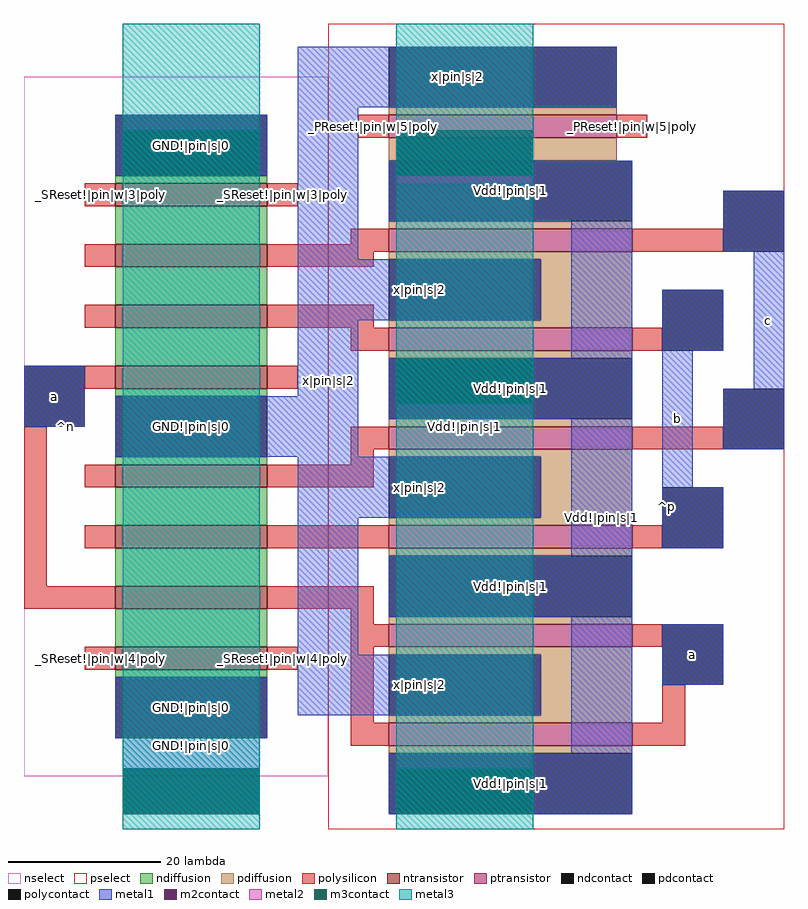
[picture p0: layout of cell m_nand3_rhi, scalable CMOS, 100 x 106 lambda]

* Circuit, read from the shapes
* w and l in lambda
.subckt m_nand3_rhi GND!|pin|s|0 Vdd!|pin|s|1 _PReset!|pin|w|5|poly _SReset!|pin|w|3|poly _SReset!|pin|w|4|poly a b c x|pin|s|2
M1 n1 _SReset!|pin|w|4|poly GND!|pin|s|0 VSUBS nfet w=20 l=3
M2 n2 a n1 VSUBS nfet w=20 l=3
M3 n3 b n2 VSUBS nfet w=20 l=3
M4 x|pin|s|2 c n3 VSUBS nfet w=20 l=3
M5 n4 a x|pin|s|2 VSUBS nfet w=20 l=3
M6 n5 b n4 VSUBS nfet w=20 l=3
M7 n6 c n5 VSUBS nfet w=20 l=3
M8 GND!|pin|s|0 _SReset!|pin|w|3|poly n6 VSUBS nfet w=20 l=3
M9 x|pin|s|2 a Vdd!|pin|s|1 NWELL pfet w=32 l=3 m=2
M10 x|pin|s|2 b Vdd!|pin|s|1 NWELL pfet w=32 l=3 m=2
M11 Vdd!|pin|s|1 c x|pin|s|2 NWELL pfet w=32 l=3 m=2
M12 x|pin|s|2 _PReset!|pin|w|5|poly Vdd!|pin|s|1 NWELL pfet w=30 l=3
.ends

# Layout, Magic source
magic
tech scmos
<< nselect >>
rect -40 -1 0 91
<< pselect >>
rect 0 -8 60 98
<< ndiffusion >>
rect -28 77 -8 78
rect -28 69 -8 74
rect -28 61 -8 66
rect -28 53 -8 58
rect -28 49 -8 50
rect -28 40 -8 41
rect -28 32 -8 37
rect -28 24 -8 29
rect -28 16 -8 21
rect -28 12 -8 13
<< pdiffusion >>
rect 8 86 38 87
rect 8 80 38 83
rect 8 71 40 72
rect 8 67 40 68
rect 28 59 40 67
rect 8 58 40 59
rect 8 54 40 55
rect 8 45 40 46
rect 8 41 40 42
rect 28 33 40 41
rect 8 32 40 33
rect 8 28 40 29
rect 8 19 40 20
rect 8 15 40 16
rect 28 7 40 15
rect 8 6 40 7
rect 8 2 40 3
<< ntransistor >>
rect -28 74 -8 77
rect -28 66 -8 69
rect -28 58 -8 61
rect -28 50 -8 53
rect -28 37 -8 40
rect -28 29 -8 32
rect -28 21 -8 24
rect -28 13 -8 16
<< ptransistor >>
rect 8 83 38 86
rect 8 68 40 71
rect 8 55 40 58
rect 8 42 40 45
rect 8 29 40 32
rect 8 16 40 19
rect 8 3 40 6
<< polysilicon >>
rect 4 83 8 86
rect 38 83 42 86
rect -32 74 -28 77
rect -8 74 -4 77
rect 3 69 8 71
rect -32 66 -28 69
rect -8 68 8 69
rect 40 68 52 71
rect -8 66 6 68
rect -32 58 -28 61
rect -8 58 6 61
rect 3 55 8 58
rect 40 55 44 58
rect -32 50 -28 53
rect -8 50 -4 53
rect -40 24 -37 45
rect 3 42 8 45
rect 40 42 52 45
rect 3 40 6 42
rect -32 37 -28 40
rect -8 37 6 40
rect -32 29 -28 32
rect -8 29 8 32
rect 40 29 44 32
rect -40 21 -28 24
rect -8 21 6 24
rect 3 19 6 21
rect 3 16 8 19
rect 40 16 44 19
rect -32 13 -28 16
rect -8 13 -4 16
rect 3 6 6 16
rect 44 6 47 11
rect 3 3 8 6
rect 40 3 47 6
<< ndcontact >>
rect -28 78 -8 86
rect -28 41 -8 49
rect -28 4 -8 12
<< pdcontact >>
rect 8 87 38 95
rect 8 72 40 80
rect 8 59 28 67
rect 8 46 40 54
rect 8 33 28 41
rect 8 20 40 28
rect 8 7 28 15
rect 8 -6 40 2
<< polycontact >>
rect 52 68 60 76
rect 44 55 52 63
rect -40 45 -32 53
rect 52 42 60 50
rect 44 29 52 37
rect 44 11 52 19
<< metal1 >>
rect -4 87 38 95
rect -28 84 -8 86
rect -28 78 -27 84
rect -9 78 -8 84
rect -4 67 4 87
rect 8 77 9 80
rect 27 77 40 80
rect 8 72 40 77
rect -4 59 28 67
rect -40 45 -32 53
rect -4 49 4 59
rect 32 54 40 72
rect 52 68 60 76
rect -28 41 4 49
rect 8 48 9 54
rect 27 48 40 54
rect 8 46 40 48
rect -4 33 28 41
rect -4 15 4 33
rect 32 28 40 46
rect 44 55 52 63
rect 44 37 48 55
rect 56 50 60 68
rect 52 42 60 50
rect 44 29 52 37
rect 8 20 40 28
rect -28 4 -8 12
rect -4 7 28 15
rect -27 0 -9 4
rect 32 2 40 20
rect 44 11 52 19
rect 8 0 40 2
rect 8 -6 9 0
rect 27 -6 40 0
<< m2contact >>
rect -27 78 -9 84
rect 9 77 27 83
rect 9 48 27 54
rect -27 -6 -9 0
rect 9 -6 27 0
<< metal2 >>
rect 9 77 27 78
<< m3contact >>
rect -27 78 -9 84
rect 9 78 27 84
rect 9 48 27 54
rect -27 -6 -9 0
rect 9 -6 27 0
<< metal3 >>
rect -27 -8 -9 98
rect 9 -8 27 98
<< labels >>
rlabel metal1 56 42 60 76 7 c
rlabel metal1 44 29 48 63 1 b
rlabel space -41 -8 -28 98 7 ^n
rlabel space 28 -8 61 77 3 ^p
rlabel metal3 -27 -8 -9 98 1 GND!|pin|s|0
rlabel metal1 -28 4 -8 12 1 GND!|pin|s|0
rlabel metal1 -27 -6 -9 12 1 GND!|pin|s|0
rlabel metal1 -28 78 -8 86 1 GND!|pin|s|0
rlabel metal3 9 -8 27 98 1 Vdd!|pin|s|1
rlabel metal1 8 72 40 80 1 Vdd!|pin|s|1
rlabel metal1 8 46 40 54 1 Vdd!|pin|s|1
rlabel metal1 8 -6 40 2 1 Vdd!|pin|s|1
rlabel metal1 8 20 40 28 1 Vdd!|pin|s|1
rlabel metal1 -4 7 4 95 1 x|pin|s|2
rlabel metal1 -4 87 38 95 1 x|pin|s|2
rlabel metal1 -28 41 4 49 1 x|pin|s|2
rlabel metal1 -4 59 28 67 1 x|pin|s|2
rlabel metal1 -4 33 28 41 1 x|pin|s|2
rlabel metal1 -4 7 28 15 1 x|pin|s|2
rlabel metal1 -40 45 -32 53 3 a
rlabel metal1 44 11 52 19 1 a
rlabel polysilicon -32 74 -28 77 1 _SReset!|pin|w|3|poly
rlabel polysilicon -8 74 -4 77 1 _SReset!|pin|w|3|poly
rlabel polysilicon -32 13 -28 16 1 _SReset!|pin|w|4|poly
rlabel polysilicon -8 13 -4 16 1 _SReset!|pin|w|4|poly
rlabel polysilicon 4 83 8 86 1 _PReset!|pin|w|5|poly
rlabel polysilicon 38 83 42 86 1 _PReset!|pin|w|5|poly
rlabel metal1 32 -6 40 72 1 Vdd!|pin|s|1
<< end >>
